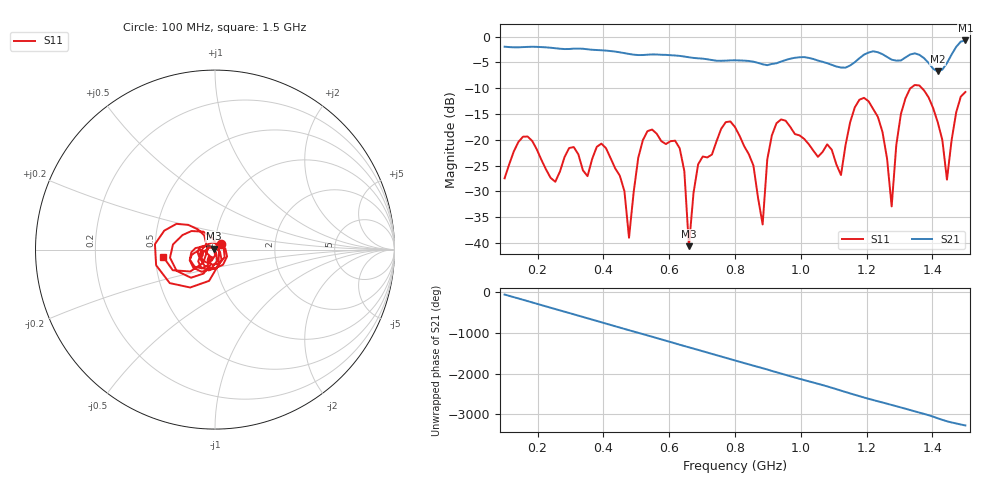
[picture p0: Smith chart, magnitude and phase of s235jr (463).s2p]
! NanoVNA-App
! Date: 2025-09-25 15:07:46
! Start: 100MHz Stop: 1,5GHz Points: 101
! S-Parameter data: F S11 S21 S12 S22
# Hz S RI R 50
!  Frequency  S11_Real  S11_Imag  S21_Real  S21_Imag  S12_Real  S12_Imag  S22_Real  S22_Imag
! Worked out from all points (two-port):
!   101 points, 100 MHz to 1.5 GHz, reference 50 ohm
!   highest |S21| = -0.75 dB at 1.5 GHz (marker M1); lowest = -6.8 dB at 1.416 GHz (marker M2)
!   |S21| within 3 dB of the highest: start of sweep to 632.9 MHz; 1.187 GHz to 1.257 GHz (69.95 MHz wide, 5.72 % of centre) (the widest 2 of 4)
!   lowest |S11| = -40.6 dB at 660 MHz (marker M3), VSWR 1.02, Z = 49.3 + j0.581 ohm
!   |S11| at or under -10 dB: start of sweep to 1.333 GHz; 1.368 GHz to end of sweep
!   S12 and S22 are empty: the file has one direction only
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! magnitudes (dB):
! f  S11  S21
! 100 MHz  -27.5  -2.0
! 156 MHz  -19.4  -2.0
! 338 MHz  -25.9  -2.4
! 408 MHz  -21.6  -2.7
! 478 MHz  -39.0  -3.4
! 520 MHz  -20.1  -3.6
! 576 MHz  -20.3  -3.5
! 632 MHz  -21.7  -3.7
! 660 MHz  -40.6  -4.0
! 688 MHz  -24.8  -4.2
! 800 MHz  -17.5  -4.6
! 884 MHz  -36.4  -5.4
! 926 MHz  -16.8  -5.2
! 1.038 GHz  -22.1  -4.3
! 1.122 GHz  -26.8  -6.0
! 1.192 GHz  -11.9  -3.5
! 1.248 GHz  -18.5  -3.4
! 1.276 GHz  -32.9  -4.5
! 1.332 GHz  -10.1  -3.5
! 1.416 GHz  -16.6  -6.8
! 1.444 GHz  -27.7  -5.1
! 1.5 GHz  -10.7  -0.8
